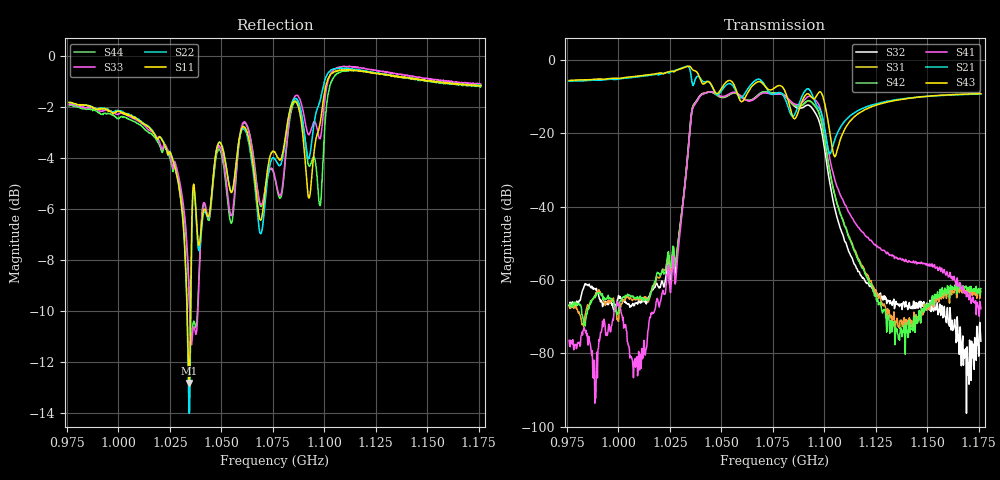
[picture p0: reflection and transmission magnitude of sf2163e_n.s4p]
# Hz S RI R 50
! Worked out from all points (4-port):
!   801 points, 976.1 MHz to 1.176 GHz, reference 50 ohm
!   strongest paths, dB at 976.1 MHz, 1.026 GHz, 1.076 GHz, 1.126 GHz, 1.176 GHz:
!     S43: -5.6, -3.0, -7.5, -12.1, -9.1
!     S21: -5.8, -3.1, -9.2, -11.8, -9.2
!     S41: -76.4, -57.6, -9.3, -50.9, -67.8
!     S42: -67.0, -53.6, -9.0, -65.5, -62.3
!     S31: -66.9, -53.6, -9.2, -64.4, -63.0
!     S32: -66.9, -55.0, -9.0, -64.0, -76.7
!   lowest |S11| = -12.8 dB at 1.034 GHz (marker M1), VSWR 1.59, Z = 34.9 - j12.5 ohm
!   |S11| at or under -10 dB: 1.033387 GHz to 1.035046 GHz (1.658 MHz wide, 0.16 % of centre)
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9.7606e8  -0.5373 -0.6093  0.3741 -0.355  0.000441 7.69e-05  0.000111 3.81e-05
          0.3737 -0.3549  -0.5314 -0.6141  0.000474 1.1e-06  0.000461 -3.77e-05
          0.000439 9.9e-05  0.00045 -2.85e-05  -0.5237 -0.6116  0.3869 -0.36
          0.000146 3.69e-05  0.000445 -5.93e-05  0.3863 -0.3596  -0.5219 -0.6066
1.01281e9  -0.5749 -0.4592  0.3537 -0.4949  0.00054 0.00022  9e-05 -2.73e-05
           0.3546 -0.4946  -0.5737 -0.4598  9.81e-05 -0.000482  0.000526 0.000142
           0.000555 0.000209  9.47e-05 -0.000547  -0.5683 -0.4592  0.3705 -0.5029
           8.56e-05 -5.43e-05  0.000525 0.000125  0.3691 -0.5028  -0.5611 -0.4517
1.02806e9  -0.5224 -0.275  0.2811 -0.6746  0.00186 0.000672  -0.00105 -0.000486
           0.2811 -0.6753  -0.5275 -0.2716  -0.00132 -0.0011  0.0018 0.000676
           0.00187 0.00066  -0.00132 -0.00111  -0.5286 -0.2993  0.3055 -0.6569
           -0.00106 -0.000483  0.00181 0.000631  0.3049 -0.6586  -0.5228 -0.2934
1.03431e9  -0.1532 -0.1696  -0.1058 -0.7889  0.0814 -0.0198  -0.0776 0.0215
           -0.1065 -0.7894  -0.1426 -0.139  -0.0841 0.0168  0.0819 -0.0191
           0.0812 -0.0199  -0.0843 0.0172  -0.3254 -0.1234  0.0907 -0.823
           -0.0773 0.0216  0.0816 -0.0191  0.0888 -0.8233  -0.3172 -0.1312
1.09306e9  -0.2059 -0.494  -0.1276 -0.3644  0.2085 0.1814  -0.2512 -0.1997
           -0.1277 -0.3642  -0.223 -0.6026  -0.1701 -0.1662  0.2079 0.1846
           0.2086 0.1805  -0.1701 -0.1652  -0.2881 -0.6472  -0.0314 -0.3302
           -0.2515 -0.1989  0.2076 0.1836  -0.0315 -0.3297  -0.2949 -0.534
1.13531e9  -0.6065 -0.6873  0.2032 -0.2057  -8.98e-05 0.000276  0.00195 -0.000568
           0.2038 -0.2075  -0.6055 -0.6836  0.000367 -0.000332  -1.98e-05 0.000217
           -8.3e-05 0.000289  0.000354 -0.000327  -0.5979 -0.7041  0.2077 -0.1952
           0.00194 -0.000605  -2.2e-05 0.000215  0.2071 -0.1951  -0.5791 -0.707
1.17606e9  -0.6601 -0.5784  0.1976 -0.2832  0.000685 -5.93e-05  3.23e-05 -0.000408
           0.1991 -0.2829  -0.6594 -0.5778  9.72e-05 -6.06e-05  0.000744 -0.000133
           0.000702 -5.39e-05  0.000126 -7.58e-05  -0.6552 -0.5915  0.2078 -0.281
           2.03e-05 -0.000408  0.000752 -0.000146  0.207 -0.282  -0.6416 -0.5904
